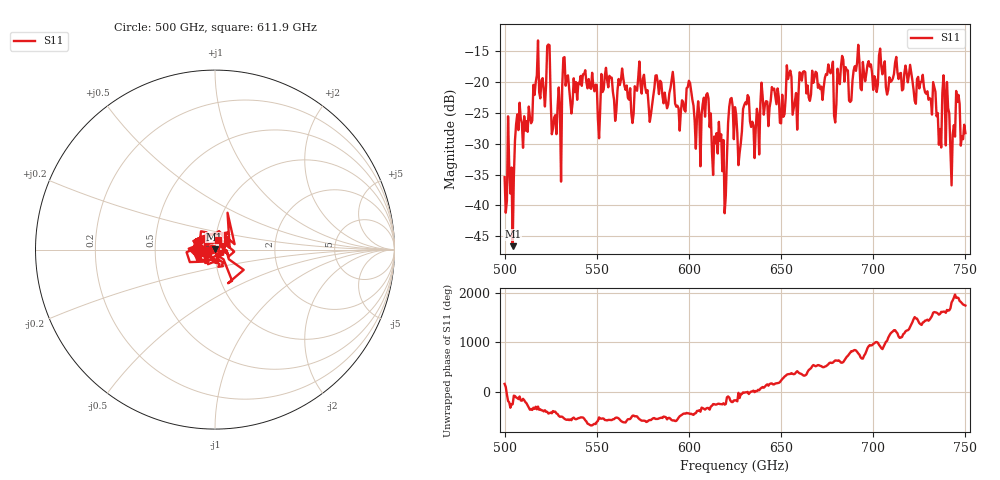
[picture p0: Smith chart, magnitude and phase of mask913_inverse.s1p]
!Created with skrf (http://scikit-rf.org).
# GHz S MA R 50.0
!freq magS11 angS11
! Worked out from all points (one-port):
!   401 points, 500 GHz to 750 GHz, reference 50 ohm
!   lowest |S11| = -46.6 dB at 504.4 GHz (marker M1), VSWR 1.01, Z = 49.8 + j0.411 ohm
!   |S11| at or under -10 dB: start of sweep to end of sweep
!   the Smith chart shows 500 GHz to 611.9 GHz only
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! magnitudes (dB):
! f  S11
! 500 GHz  -35.4
! 504.4 GHz  -46.6
! 506.9 GHz  -25.3
! 513.8 GHz  -25.7
! 516.9 GHz  -20.1
! 523.8 GHz  -13.9
! 526.9 GHz  -25.8
! 531.2 GHz  -20.7
! 562.5 GHz  -20.5
! 593.8 GHz  -23.8
! 605 GHz  -23.1
! 609.4 GHz  -22.1
! 619.4 GHz  -41.3
! 622.5 GHz  -22.8
! 625 GHz  -24.1
! 627.5 GHz  -31.5
! 631.2 GHz  -23.6
! 636.9 GHz  -24.3
! 640 GHz  -22.3
! 656.2 GHz  -25.3
! 687.5 GHz  -23.2
! 691.2 GHz  -16.9
! 718.8 GHz  -20.1
! 735.6 GHz  -30.2
! 738.8 GHz  -21.9
! 743.1 GHz  -28.5
! 745.6 GHz  -23.2
! 750 GHz  -28.3
